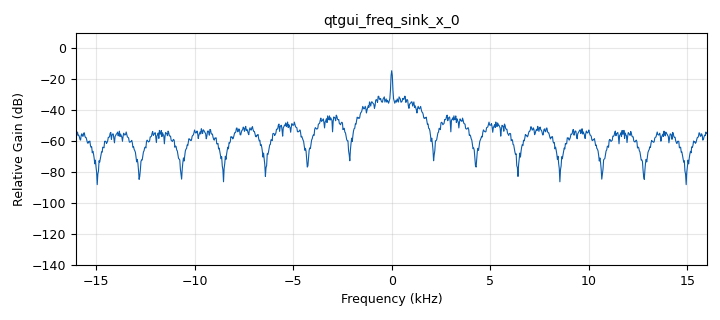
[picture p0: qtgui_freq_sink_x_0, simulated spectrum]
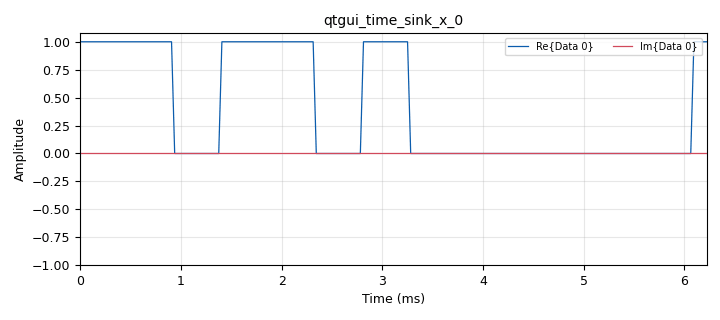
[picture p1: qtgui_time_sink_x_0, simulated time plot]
<?xml version='1.0' encoding='utf-8'?>
<?grc format='1' created='3.7.12'?>
<flow_graph>
<block>
<key>options</key>
<param><key>id</key><value>dsp_basics_tutorial</value></param>
<param><key>generate_options</key><value>qt_gui</value></param>
</block>
<block>
<key>variable</key>
<param><key>id</key><value>samp_rate</value></param>
<param><key>value</key><value>32000</value></param>
</block>
<block>
<key>blocks_throttle</key>
<param><key>id</key><value>blocks_throttle_0</value></param>
<param><key>samples_per_second</key><value>samp_rate</value></param>
<param><key>type</key><value>complex</value></param>
</block>
<block>
<key>epy_block</key>
<param><key>id</key><value>epy_block_0</value></param>
<param><key>_source_code</key><value>"""
Embedded Python Blocks:

Each time this file is saved, GRC will instantiate the first class it finds
to get ports and parameters of your block. The arguments to __init__  will
be the parameters. All of them are required to have default values!
"""

import numpy as np
from gnuradio import gr


class blk(gr.sync_block):  # other base classes are basic_block, decim_block, interp_block
    def __init__(self):  # only default arguments here
        gr.sync_block.__init__(
            self,
            name='On Off Keying Tx',   # will show up in GRC
            in_sig= None,
            out_sig=[np.complex64]    
        )
        self.samples_per_pulse = 15

    def work(self, input_items, output_items):
        if len(output_items[0]) &gt;= self.samples_per_pulse:
            output_items[0][0:self.samples_per_pulse] = [np.random.randint(2)]*self.samples_per_pulse
            return self.samples_per_pulse
        else:
            return 0
</value></param>
</block>
<block>
<key>qtgui_freq_sink_x</key>
<param><key>id</key><value>qtgui_freq_sink_x_0</value></param>
<param><key>average</key><value>0.2</value></param>
<param><key>bw</key><value>samp_rate</value></param>
<param><key>fc</key><value>0</value></param>
<param><key>fftsize</key><value>1024</value></param>
<param><key>showports</key><value>True</value></param>
<param><key>type</key><value>complex</value></param>
<param><key>wintype</key><value>firdes.WIN_BLACKMAN_hARRIS</value></param>
</block>
<block>
<key>qtgui_time_sink_x</key>
<param><key>id</key><value>qtgui_time_sink_x_0</value></param>
<param><key>color1</key><value>"blue"</value></param>
<param><key>label1</key><value></value></param>
<param><key>color2</key><value>"red"</value></param>
<param><key>label2</key><value></value></param>
<param><key>size</key><value>200</value></param>
<param><key>srate</key><value>samp_rate</value></param>
<param><key>type</key><value>complex</value></param>
</block>
<connection><source_block_id>blocks_throttle_0</source_block_id><sink_block_id>qtgui_freq_sink_x_0</sink_block_id><source_key>0</source_key><sink_key>0</sink_key></connection>
<connection><source_block_id>blocks_throttle_0</source_block_id><sink_block_id>qtgui_time_sink_x_0</sink_block_id><source_key>0</source_key><sink_key>0</sink_key></connection>
<connection><source_block_id>epy_block_0</source_block_id><sink_block_id>blocks_throttle_0</sink_block_id><source_key>0</source_key><sink_key>0</sink_key></connection>
</flow_graph>
